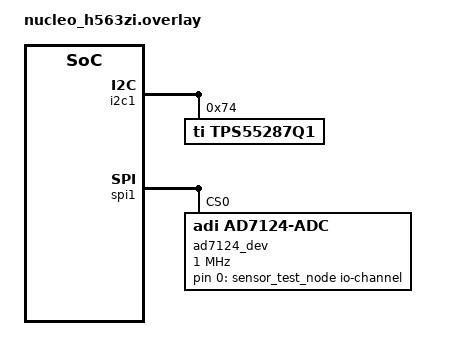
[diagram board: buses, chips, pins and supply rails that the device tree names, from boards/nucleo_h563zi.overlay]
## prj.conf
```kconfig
# Logging
CONFIG_LOG=y
CONFIG_LOG_DEFAULT_LEVEL=3
CONFIG_REGULATOR_TPS55287Q1_LOG_LEVEL=4

# Enable floating-point printf support
CONFIG_CBPRINTF_FP_SUPPORT=y

# SPI support
CONFIG_SPI=y

# I2C support
CONFIG_I2C=y

# GPIO support
# CONFIG_GPIO=y

# Regulator subsystem
CONFIG_REGULATOR=y
CONFIG_REGULATOR_TPS55287Q1=y

# Enable coo_commons library
# CONFIG_COO_COMMONS=y

# Optional: Network support (for future MQTT telemetry)
# CONFIG_NETWORKING=y
# CONFIG_COO_NETWORK=y
# CONFIG_COO_JSON=y
# CONFIG_COO_MQTT=y

# CONFIG_COO_CONFIG_LIB=y
# CONFIG_COO_HEATERS_LIB=y
# CONFIG_COO_SENSORS_LIB=y
CONFIG_ADC=y

# Console
# CONFIG_SERIAL=y
# CONFIG_CONSOLE=y
# CONFIG_UART_CONSOLE=y
# CONFIG_PRINTK=y
CONFIG_LOG_MODE_IMMEDIATE=y
```

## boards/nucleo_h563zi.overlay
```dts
/*
 * Devicetree overlay for NUCLEO-H563ZI:
 * - AD7124 ADC on SPI1
 */

/ {
    aliases {
        sensor-test = &sensor_test_node;
        heater-test = &tps55287q1;
    };

    sensor_test_node: zephyr,user {
        io-channels = <&ad7124_dev 0>;
    };
};

&i2c1 {
    status = "okay";

    tps55287q1: tps55287q1@74 {
        compatible = "ti,tps55287q1";
        reg = <0x74>;
        status = "okay";

        intfb = <3>;
        force-discharge;
        r-sense-uohm = <20000>;

        /* Regulator common properties */
        regulator-name = "TPS55287Q1";
        regulator-active-discharge = <0>;
    };
};

&spi1 {
    status = "okay";

    ad7124_dev: ad7124@0 {
        compatible = "adi,ad7124-adc";
        status = "okay";
        reg = <0>;
        spi-max-frequency = <1000000>;
        power-mode = <2>;
        active-device = <1>;

        #address-cells = <1>;
        #size-cells = <0>;

        #io-channel-cells = <1>;

        channel@0 {
            reg = <0>;
            // zephyr,gain = "ADC_GAIN_1";
            zephyr,gain = "ADC_GAIN_4";
            // zephyr,gain = "ADC_GAIN_16";
            zephyr,reference = "ADC_REF_EXTERNAL0";
            zephyr,acquisition-time = <ADC_ACQ_TIME_DEFAULT>;
            zephyr,resolution = <24>;
            zephyr,current-source-pin = [ 03 00  ];
            zephyr,input-positive = <2>;
            zephyr,input-negative = <3>;
        };
    };
};
```

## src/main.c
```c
/*
 * Copyright (c) 2024
 *
 * SPDX-License-Identifier: Apache-2.0
 */

#include <zephyr/kernel.h>
#include <zephyr/drivers/adc.h>
#include <zephyr/drivers/spi.h>
#include <zephyr/logging/log.h>
#include <stdio.h>

#include <config.h>
#include <heater_manager.h>

LOG_MODULE_REGISTER(main, LOG_LEVEL_INF);

/* PT1000 front-end calibration: 5.11k reference, 24-bit bipolar.
 * Gain caps the measurable resistance at R_REF/gain, so PT1000 needs 4x
 * (~1277 ohm ceiling); 8x would clip at ~638 ohm and 16x at ~319 ohm. */
#define RTD_REFERENCE_OHMS   5110.0f
#define ADC_GAIN             4.0f
#define ADC_RESOLUTION_BITS  24
#define RTD_NOMINAL_OHMS     1000.0f
#define RTD_TEMP_COEFFICIENT 3850.0f

#if DT_NODE_HAS_STATUS(DT_ALIAS(sensor_test), okay)
static const struct adc_dt_spec adc_channel = ADC_DT_SPEC_GET(DT_ALIAS(sensor_test));
#endif

int main(void)
{
	int ret;
	thermal_config_t *config = config_load_defaults();
    if (!config) {
        LOG_ERR("Failed to load default config");
        return -1;
    }

	strncpy(config->heaters[0].id, "high-power-1", MAX_ID_LENGTH - 1);
    config->heaters[0].type = HEATER_TYPE_HIGH_POWER;
    config->heaters[0].max_power_w = 40.0f;     // 40W max
    config->heaters[0].resistance_ohms = 30.0f;  // 30 Ohms
    config->heaters[0].regulator_dev = DEVICE_DT_GET(DT_ALIAS(heater_test));
    config->heaters[0].enabled = true;

	/* The heater only provides a load for noise-under-load measurements, so
	 * carry on without it: the ADC characterisation is the point here. */
	ret = heater_manager_init(config);
	if (ret < 0) {
		LOG_WRN("No heater manager (%d), measuring ADC noise unloaded", ret);
	} else {
		ret = heater_manager_set_power("high-power-1", 5.0f);
		if (ret < 0) {
			LOG_WRN("No heater power (%d), measuring ADC noise unloaded", ret);
		}
	}


#if DT_NODE_HAS_STATUS(DT_ALIAS(sensor_test), okay)
	int32_t buf;
	struct adc_sequence sequence = {
		.buffer = &buf,
		.buffer_size = sizeof(buf),
	};


	if (!adc_is_ready_dt(&adc_channel)) {
		LOG_ERR("ADC controller device %s not ready", adc_channel.dev->name);
		return 0;
	}

	ret = adc_channel_setup_dt(&adc_channel);
	if (ret < 0) {
		LOG_ERR("Could not setup channel #%d (%d)", 0, ret);
		return 0;
	}

	ret = adc_sequence_init_dt(&adc_channel, &sequence);
	if (ret < 0) {
		LOG_ERR("Could not initialize sequence (%d)", ret);
		return 0;
	}


	printf("raw,resistance\n");

    // --- Read AD7124 Filter Register ---
    // SPI configuration matching the AD7124 driver
    // Speed: 1MHz, Operation: Word Size 8, Mode 3 (CPOL | CPHA)
    static const struct spi_dt_spec spi_dev = SPI_DT_SPEC_GET(DT_NODELABEL(ad7124_dev), SPI_OP_MODE_MASTER | SPI_MODE_CPOL | SPI_MODE_CPHA | SPI_WORD_SET(8), 0);

    if (!spi_is_ready_dt(&spi_dev)) {
        LOG_ERR("SPI device not ready");
    } else {
        // --- Write 0x0607FF to Filter Register 0 (Address 0x21) ---
        // Command: Write (0x00) | Address (0x21) -> 0x21
        // Data: 0x06, 0x07, 0xFF
        uint8_t write_tx_buf[4] = {0x21, 0x06, 0x07, 0xFF};
        struct spi_buf write_tx_bufs[] = {{.buf = write_tx_buf, .len = 4}};
        struct spi_buf_set write_tx_set = {.buffers = write_tx_bufs, .count = 1};
        
        int ret_write = spi_transceive_dt(&spi_dev, &write_tx_set, NULL);
        if (ret_write < 0) {
            LOG_ERR("SPI Write failed: %d", ret_write);
        } else {
            LOG_INF("Wrote 0x0607FF to Filter Register 0");
        }
        
        k_sleep(K_MSEC(10)); // Short delay
        
        uint8_t tx_buf[2];
        
        // Read Filter Register 0 (Address 0x21)
        // Command: Read (0x40) | Address (0x21)
        
        tx_buf[0] = 0x40 | 0x21; // Read 0x21
        tx_buf[1] = 0x00;
        
        struct spi_buf tx_bufs[] = {
            { .buf = tx_buf, .len = 1 }
        };
        struct spi_buf_set tx_set_2 = { .buffers = tx_bufs, .count = 1 };
        
        uint8_t rx_data[4] = {0};
        struct spi_buf rx_bufs[] = {
            { .buf = rx_data, .len = 4 }
        };
        struct spi_buf_set rx_set = { .buffers = rx_bufs, .count = 1 };
        
        // Note: Zephyr SPI transceive might need matching lengths if not using specific flags.
        // But for many devices, we write 1 byte then read N bytes.
        // Let's use two structs if needed, or just 1 struct with sufficient length.
        // Actually, typically we send the command, and simultaneously read garbage, then send dummy and read data.
        
        // Let's try to match driver behavior:
        // Driver uses: tx_buf len 1. rx_buf len = 1 + data_len.
        
        ret = spi_transceive_dt(&spi_dev, &tx_set_2, &rx_set);
        if (ret < 0) {
            LOG_ERR("SPI Transceive failed: %d", ret);
        } else {
            // Data is in rx_data[1], rx_data[2], rx_data[3]
            uint32_t filter_val = (rx_data[1] << 16) | (rx_data[2] << 8) | rx_data[3];
            LOG_INF("Filter Register 0 (0x21) Value: 0x%06X (RX: %02X %02X %02X %02X)", filter_val, rx_data[0], rx_data[1], rx_data[2], rx_data[3]);
            printf("Filter Register 0: 0x%06X\n", filter_val);
        }
    }

    uint32_t start_time = k_uptime_get_32();
    int sample_count = 5000;

	for (int i = 0; i < sample_count; i++) {
		ret = adc_read(adc_channel.dev, &sequence);

		if (ret < 0) {
			LOG_ERR("Could not read (%d)", ret);
			continue;
		}
		
		int32_t val_mv = buf;
		
		ret = adc_raw_to_millivolts_dt(&adc_channel, &val_mv);
		if (ret < 0) {
			LOG_WRN("Call to adc_raw_to_millivolts_dt failed: %d", ret);
		} else {
             /* 
              * Note: The AD7124 driver in Zephyr might rely on the reference setup in DT.
              * We primarily trust the raw value and the library conversion.
              */
            
			const int32_t max_count = (1 << (ADC_RESOLUTION_BITS - 1)) - 1;
			float r_rtd = (((float)buf - (float)max_count) * RTD_REFERENCE_OHMS) /
			              (ADC_GAIN * (float)max_count);
            float temp_c = (r_rtd - RTD_NOMINAL_OHMS) / (RTD_TEMP_COEFFICIENT / RTD_NOMINAL_OHMS);
            float temp_k = temp_c + 273.15f;


			// Print to standard output for easy viewing
			printf("%6d,%.6f,%.6f,%.6f\n", buf, (double)r_rtd, (double)temp_c, (double)temp_k);

		}
	}

    uint32_t end_time = k_uptime_get_32();
    uint32_t duration = end_time - start_time;
    printf("Total Time: %u ms\n", duration);
    if(duration > 0) {
        printf("Frequency: %.2f Hz\n", (double)sample_count * 1000.0 / (double)duration);
    }

    
    // --- Read AD7124 Filter Register AGAIN after loop ---
    if (spi_is_ready_dt(&spi_dev)) {
         uint8_t tx_buf[2];
         tx_buf[0] = 0x40 | 0x21; // Read 0x21
         tx_buf[1] = 0x00;
         
         struct spi_buf tx_bufs[] = {
             { .buf = tx_buf, .len = 1 }
         };
         struct spi_buf_set tx_set = { .buffers = tx_bufs, .count = 1 };
         
         uint8_t rx_data[4] = {0};
         struct spi_buf rx_bufs[] = {
             { .buf = rx_data, .len = 4 }
         };
         struct spi_buf_set rx_set = { .buffers = rx_bufs, .count = 1 };
         
         int ret_read = spi_transceive_dt(&spi_dev, &tx_set, &rx_set);
         if (ret_read < 0) {
             LOG_ERR("SPI Transceive failed: %d", ret_read);
         } else {
             uint32_t filter_val = (rx_data[1] << 16) | (rx_data[2] << 8) | rx_data[3];
             LOG_INF("Filter Register 0 (0x21) Value (After Loop): 0x%06X", filter_val);
             printf("Filter Register 0 (After Loop): 0x%06X\n", filter_val);
         }
    }

	ret = heater_manager_set_power("high-power-1", 0.0f);
	if (ret < 0) {
		LOG_ERR("Failed to set heater power (%d)", ret);
		return 0;
	}

    while(1) {
        k_sleep(K_FOREVER);
    }
#else
    LOG_WRN("ADC Device (sensor_test) is DISABLED in Devicetree");
    while(1) {
        k_sleep(K_SECONDS(1));
    }
#endif

	return 0;
}
```
